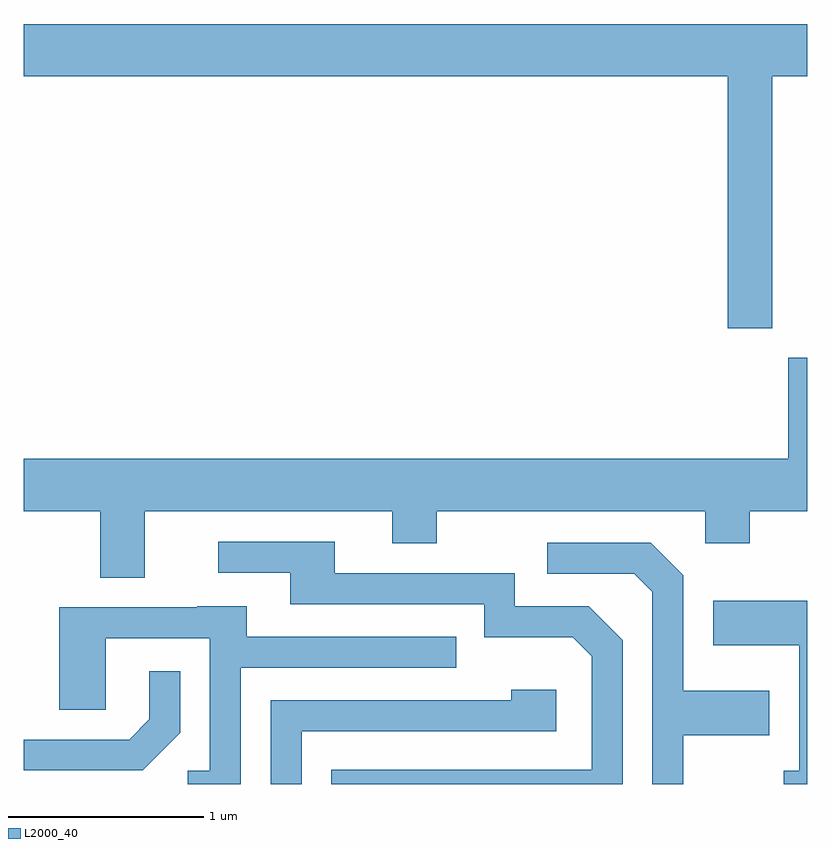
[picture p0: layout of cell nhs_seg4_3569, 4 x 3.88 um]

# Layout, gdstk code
import gdstk
lib = gdstk.Library(unit=1e-6, precision=1e-09)
def P(c, l, *ps):  # polygons
    for p in ps: c.add(gdstk.Polygon(p, *l))
L2000_40 = (2000, 40)

nhs_seg4_3569 = lib.new_cell('nhs_seg4_3569')
P(nhs_seg4_3569, L2000_40, [(293.434,1323.596),(293.611,1323.596),(293.611,1323.864),(289.611,1323.864),(289.611,1323.596),(293.206,1323.596),(293.206,1322.311),(293.434,1322.311)],
  [(290.229,1321.376),(291.491,1321.376),(291.491,1321.211),(291.719,1321.211),(291.719,1321.376),(293.091,1321.376),(293.091,1321.211),(293.319,1321.211),(293.319,1321.376),(293.611,1321.376),(293.611,1322.159),(293.516,1322.159),(293.516,1321.644),(289.611,1321.644),(289.611,1321.376),(290.001,1321.376),(290.001,1321.036),(290.229,1321.036)],
  [(292.669,1320.717),(292.497,1320.889),(292.119,1320.889),(292.119,1321.059),(291.199,1321.059),(291.199,1321.219),(290.603,1321.219),(290.603,1321.061),(290.971,1321.061),(290.971,1320.901),(291.961,1320.901),(291.961,1320.731),(292.414,1320.731),(292.511,1320.634),(292.511,1320.054),(291.181,1320.054),(291.181,1319.982),(292.669,1319.982)],
  [(292.979,1320.231),(293.419,1320.231),(293.419,1320.459),(292.979,1320.459),(292.979,1321.047),(292.812,1321.214),(292.283,1321.214),(292.283,1321.056),(292.729,1321.056),(292.821,1320.964),(292.821,1319.982),(292.979,1319.982)],
  [(293.611,1320.919),(293.131,1320.919),(293.131,1320.691),(293.571,1320.691),(293.571,1320.049),(293.493,1320.049),(293.493,1319.982),(293.611,1319.982)],
  [(290.719,1320.576),(291.818,1320.576),(291.818,1320.734),(290.749,1320.734),(290.749,1320.889),(290.495,1320.889),(290.495,1320.884),(289.791,1320.884),(289.791,1320.361),(290.029,1320.361),(290.029,1320.726),(290.561,1320.726),(290.561,1320.049),(290.448,1320.049),(290.448,1319.982),(290.719,1319.982)],
  [(290.409,1320.244),(290.409,1320.558),(290.251,1320.558),(290.251,1320.312),(290.149,1320.209),(289.611,1320.209),(289.611,1320.051),(290.217,1320.051)],
  [(291.029,1320.251),(292.329,1320.251),(292.329,1320.464),(292.101,1320.464),(292.101,1320.409),(290.871,1320.409),(290.871,1319.982),(291.029,1319.982)])

lib.write_gds('nhs_seg4_3569.gds')
